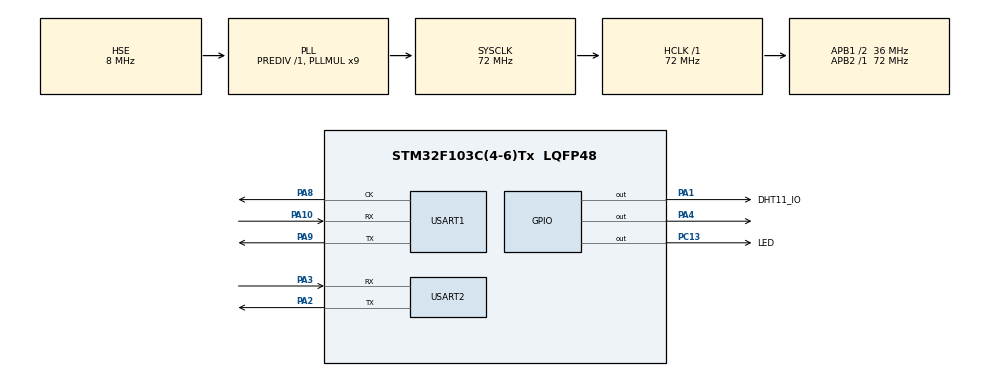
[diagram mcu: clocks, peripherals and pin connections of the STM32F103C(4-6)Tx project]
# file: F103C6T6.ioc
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Mcu.Family=STM32F1
Mcu.Name=STM32F103C(4-6)Tx
Mcu.Package=LQFP48
NVIC.PriorityGroup=NVIC_PRIORITYGROUP_4
NVIC.TIM2_IRQn=true\:0\:0\:false\:false\:true\:true\:true
NVIC.USART2_IRQn=true\:0\:0\:false\:false\:true\:true\:true
PA1.GPIO_Label=DHT11_IO
PA1.Signal=GPIO_Output
PA10.Mode=Synchronous
PA10.Signal=USART1_RX
PA13.Mode=Serial_Wire
PA13.Signal=SYS_JTMS-SWDIO
PA14.Mode=Serial_Wire
PA14.Signal=SYS_JTCK-SWCLK
PA2.Mode=Asynchronous
PA2.Signal=USART2_TX
PA3.Mode=Asynchronous
PA3.Signal=USART2_RX
PA4.Signal=GPIO_Output
PA8.Mode=Synchronous
PA8.Signal=USART1_CK
PA9.Mode=Synchronous
PA9.Signal=USART1_TX
PC13-TAMPER-RTC.GPIO_Label=LED
PC13-TAMPER-RTC.Signal=GPIO_Output
PD0-OSC_IN.Mode=HSE-External-Oscillator
PD0-OSC_IN.Signal=RCC_OSC_IN
PD1-OSC_OUT.Mode=HSE-External-Oscillator
PD1-OSC_OUT.Signal=RCC_OSC_OUT
ProjectManager.HeapSize=0x200
ProjectManager.StackSize=0x400
ProjectManager.TargetToolchain=MDK-ARM V5.32
RCC.ADCPresc=RCC_ADCPCLK2_DIV6
RCC.AHBFreq_Value=72000000
RCC.APB1CLKDivider=RCC_HCLK_DIV2
RCC.APB1Freq_Value=36000000
RCC.APB1TimFreq_Value=72000000
RCC.APB2Freq_Value=72000000
RCC.APB2TimFreq_Value=72000000
RCC.HCLKFreq_Value=72000000
RCC.PLLMUL=RCC_PLL_MUL9
RCC.PLLSourceVirtual=RCC_PLLSOURCE_HSE
RCC.SYSCLKFreq_VALUE=72000000
RCC.SYSCLKSource=RCC_SYSCLKSOURCE_PLLCLK
RCC.USBFreq_Value=72000000
TIM1.AutoReloadPreload=TIM_AUTORELOAD_PRELOAD_ENABLE
TIM1.Prescaler=72-1
TIM2.AutoReloadPreload=TIM_AUTORELOAD_PRELOAD_ENABLE
TIM2.Period=10000-1
TIM2.Prescaler=7200-1
USART1.VirtualMode=VM_SYNC
USART2.VirtualMode=VM_ASYNC
VP_TIM1_VS_ClockSourceINT.Mode=Internal
VP_TIM2_VS_ClockSourceINT.Mode=Internal
board=custom

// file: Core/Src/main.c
/* USER CODE BEGIN Header */
/**
  ******************************************************************************
  * @file           : main.c
  * @brief          : Main program body
  ******************************************************************************
  * @attention
  *
  * Copyright (c) 2022 STMicroelectronics.
  * All rights reserved.
  *
  * This software is licensed under terms that can be found in the LICENSE file
  * in the root directory of this software component.
  * If no LICENSE file comes with this software, it is provided AS-IS.
  *
  ******************************************************************************
  */
/* USER CODE END Header */
#include "main.h"
#include "tim.h"
#include "usart.h"
#include "gpio.h"

/* USER CODE BEGIN Includes */
#include "stdio.h"

#include "bsp_uart.h"
#include "bsp_timer.h"

#include "DHT11.h"
#include "esp8266.h"
#include "mqtt.h"

/* USER CODE END Includes */

void SystemClock_Config(void);

/* USER CODE BEGIN 0 */
extern uint8_t Rx_Once[];

void HAL_TIM_PeriodElapsedCallback(TIM_HandleTypeDef *htim){
	if(htim->Instance == TIM2)
	{
		//定时器2暂未使用
	}
}

uint8_t node_status=0;

/* USER CODE END 0 */

int main(void)
{

  /* MCU Configuration--------------------------------------------------------*/

  /* Reset of all peripherals, Initializes the Flash interface and the Systick. */
  HAL_Init();

  /* Configure the system clock */
  SystemClock_Config();

  /* Initialize all configured peripherals */
  MX_GPIO_Init();
  MX_TIM2_Init();
  MX_TIM1_Init();
  MX_USART1_Init();
  MX_USART2_UART_Init();
  /* USER CODE BEGIN 2 */
  HAL_TIM_Base_Start_IT(&htim2); //
  HAL_UART_Receive_IT(&huart2, Rx_Once, 1);

  ESP01S_CONNECT();

  MQTT_CONNECTING();

  /* USER CODE END 2 */

  /* Infinite loop */
  /* USER CODE BEGIN WHILE */
  while (1)
  {
	  #if 1
	  if(node_status == 0)
	  {
			HAL_Delay(1000);
			Temperture_Measure();
	  }
	  else{
			HAL_GPIO_TogglePin(LED_GPIO_Port, LED_Pin);
			HAL_Delay(100);
	  }
	  #else
		HAL_Delay(1000);
		HAL_GPIO_TogglePin(LED_GPIO_Port,LED_Pin);
	  #endif

    /* USER CODE END WHILE */

  }
}

void SystemClock_Config(void)
{
  RCC_OscInitTypeDef RCC_OscInitStruct = {0};
  RCC_ClkInitTypeDef RCC_ClkInitStruct = {0};

  /** Initializes the RCC Oscillators according to the specified parameters
  * in the RCC_OscInitTypeDef structure.
  */
  RCC_OscInitStruct.OscillatorType = RCC_OSCILLATORTYPE_HSE;
  RCC_OscInitStruct.HSEState = RCC_HSE_ON;
  RCC_OscInitStruct.HSEPredivValue = RCC_HSE_PREDIV_DIV1;
  RCC_OscInitStruct.HSIState = RCC_HSI_ON;
  RCC_OscInitStruct.PLL.PLLState = RCC_PLL_ON;
  RCC_OscInitStruct.PLL.PLLSource = RCC_PLLSOURCE_HSE;
  RCC_OscInitStruct.PLL.PLLMUL = RCC_PLL_MUL9;
  if (HAL_RCC_OscConfig(&RCC_OscInitStruct) != HAL_OK)
  {
    Error_Handler();
  }
  /** Initializes the CPU, AHB and APB buses clocks
  */
  RCC_ClkInitStruct.ClockType = RCC_CLOCKTYPE_HCLK|RCC_CLOCKTYPE_SYSCLK
                              |RCC_CLOCKTYPE_PCLK1|RCC_CLOCKTYPE_PCLK2;
  RCC_ClkInitStruct.SYSCLKSource = RCC_SYSCLKSOURCE_PLLCLK;
  RCC_ClkInitStruct.AHBCLKDivider = RCC_SYSCLK_DIV1;
  RCC_ClkInitStruct.APB1CLKDivider = RCC_HCLK_DIV2;
  RCC_ClkInitStruct.APB2CLKDivider = RCC_HCLK_DIV1;

  if (HAL_RCC_ClockConfig(&RCC_ClkInitStruct, FLASH_LATENCY_2) != HAL_OK)
  {
    Error_Handler();
  }
}

void Error_Handler(void)
{
  __disable_irq();
  while (1)
  {
  }
}
